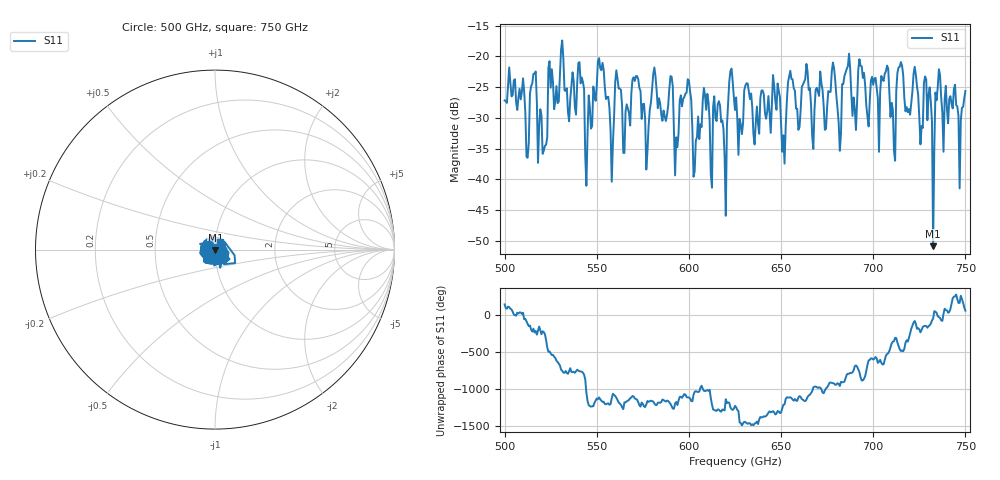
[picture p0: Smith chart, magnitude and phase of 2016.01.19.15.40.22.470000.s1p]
!Created with skrf (http://scikit-rf.org).
# GHz S RI R 50.0
!freq ReS11 ImS11
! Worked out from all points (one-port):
!   401 points, 500 GHz to 750 GHz, reference 50 ohm
!   lowest |S11| = -50.9 dB at 732.5 GHz (marker M1), VSWR 1.01, Z = 50.2 - j0.223 ohm
!   |S11| at or under -10 dB: start of sweep to end of sweep
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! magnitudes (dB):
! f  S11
! 500 GHz  -27.2
! 512.5 GHz  -36.5
! 515.6 GHz  -22.8
! 521.9 GHz  -34.6
! 525 GHz  -25.1
! 531.2 GHz  -17.4
! 541.2 GHz  -24.4
! 545 GHz  -32.6
! 551.9 GHz  -21.9
! 558.1 GHz  -40.4
! 562.5 GHz  -25.3
! 577.5 GHz  -35.5
! 590 GHz  -23.2
! 593.8 GHz  -34.8
! 599.4 GHz  -23.7
! 603.1 GHz  -38.7
! 625 GHz  -28.7
! 646.9 GHz  -27.3
! 651.2 GHz  -32.9
! 656.2 GHz  -23.7
! 678.8 GHz  -21.9
! 681.2 GHz  -30.8
! 687.5 GHz  -22.0
! 718.8 GHz  -29.1
! 729.4 GHz  -30.4
! 732.5 GHz  -50.9
! 735 GHz  -25.0
! 750 GHz  -25.6
